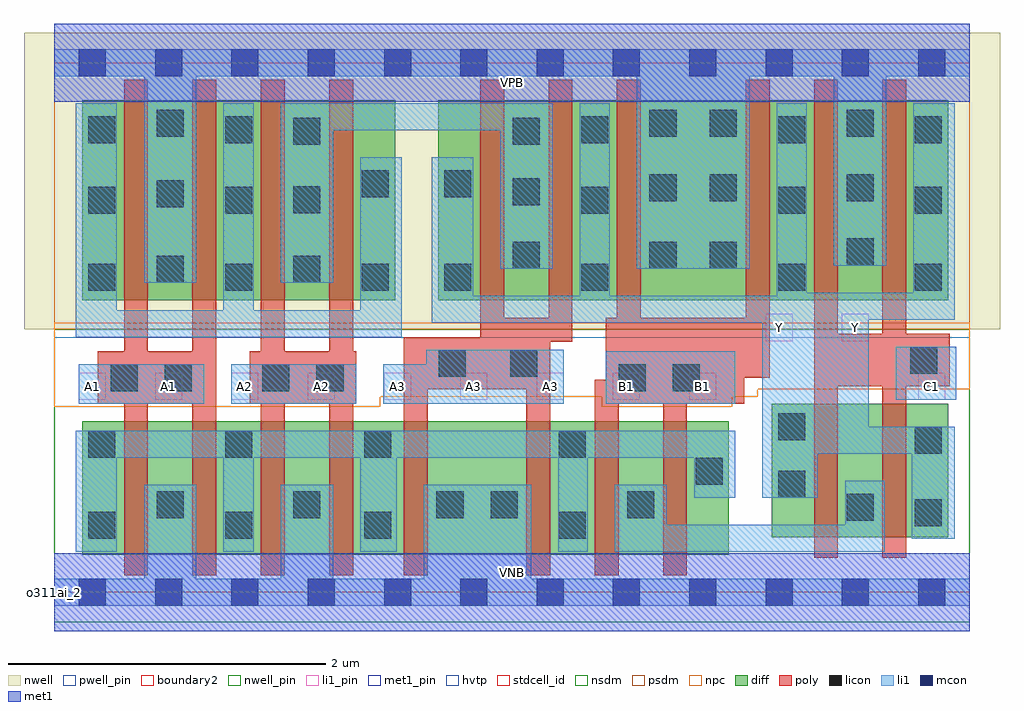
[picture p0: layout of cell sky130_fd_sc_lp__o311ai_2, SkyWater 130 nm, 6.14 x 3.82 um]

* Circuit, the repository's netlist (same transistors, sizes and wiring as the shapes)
* Copyright 2020 The SkyWater PDK Authors
*
* Licensed under the Apache License, Version 2.0 (the "License");
* you may not use this file except in compliance with the License.
* You may obtain a copy of the License at
*
*     https://www.apache.org/licenses/LICENSE-2.0
*
* Unless required by applicable law or agreed to in writing, software
* distributed under the License is distributed on an "AS IS" BASIS,
* WITHOUT WARRANTIES OR CONDITIONS OF ANY KIND, either express or implied.
* See the License for the specific language governing permissions and
* limitations under the License.
*
* SPDX-License-Identifier: Apache-2.0

.SUBCKT sky130_fd_sc_lp__o311ai_2 A1 A2 A3 B1 C1 VGND VNB VPB VPWR Y
*.PININFO A1:I A2:I A3:I B1:I C1:I VGND:I VNB:I VPB:I VPWR:I Y:O
MMPA0 VPWR A1 sndA1 VPB sky130_fd_pr__pfet_01v8_hvt m=2 w=1.26U l=0.15U mult=1
+ sa=0.265 sb=0.265 sd=0.28 area=0.063 perim=1.14
MMPA1 sndA1 A2 sndA2 VPB sky130_fd_pr__pfet_01v8_hvt m=2 w=1.26U l=0.15U mult=1
+ sa=0.265 sb=0.265 sd=0.28 area=0.063 perim=1.14
MMPA2 sndA2 A3 Y VPB sky130_fd_pr__pfet_01v8_hvt m=2 w=1.26U l=0.15U mult=1 sa=0.265
+ sb=0.265 sd=0.28 area=0.063 perim=1.14
MMPB0 VPWR B1 Y VPB sky130_fd_pr__pfet_01v8_hvt m=2 w=1.26U l=0.15U mult=1 sa=0.265
+ sb=0.265 sd=0.28 area=0.063 perim=1.14
MMPC0 VPWR C1 Y VPB sky130_fd_pr__pfet_01v8_hvt m=2 w=1.26U l=0.15U mult=1 sa=0.265
+ sb=0.265 sd=0.28 area=0.063 perim=1.14
MMNA0 pndA A1 VGND VNB sky130_fd_pr__nfet_01v8 m=2 w=0.84U l=0.15U mult=1 sa=0.265
+ sb=0.265 sd=0.28 area=0.063 perim=1.14
MMNA1 pndA A2 VGND VNB sky130_fd_pr__nfet_01v8 m=2 w=0.84U l=0.15U mult=1 sa=0.265
+ sb=0.265 sd=0.28 area=0.063 perim=1.14
MMNA2 pndA A3 VGND VNB sky130_fd_pr__nfet_01v8 m=2 w=0.84U l=0.15U mult=1 sa=0.265
+ sb=0.265 sd=0.28 area=0.063 perim=1.14
MMNB0 pndB B1 pndA VNB sky130_fd_pr__nfet_01v8 m=2 w=0.84U l=0.15U mult=1 sa=0.265
+ sb=0.265 sd=0.28 area=0.063 perim=1.14
MMNC0 Y C1 pndB VNB sky130_fd_pr__nfet_01v8 m=2 w=0.84U l=0.15U mult=1 sa=0.265
+ sb=0.265 sd=0.28 area=0.063 perim=1.14
.ENDS sky130_fd_sc_lp__o311ai_2

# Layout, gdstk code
import gdstk
lib = gdstk.Library(unit=1e-6, precision=1e-09)
def R(c, l, rs):  # rectangles x0, y0, x1, y1
    for r in rs: c.add(gdstk.rectangle(r[:2], r[2:], *l))
def A(c, l, x, y, w, h, nx, ny, dx, dy):  # array of equal rectangles
    R(c, l, [(x+i*dx, y+j*dy, x+i*dx+w, y+j*dy+h) for i in range(nx) for j in range(ny)])
def P(c, l, *ps):  # polygons
    for p in ps: c.add(gdstk.Polygon(p, *l))
nwell_pin = (64, 16)
nwell = (64, 20)
diff = (65, 20)
poly = (66, 20)
licon = (66, 44)
li1_pin = (67, 16)
li1 = (67, 20)
mcon = (67, 44)
met1_pin = (68, 16)
met1 = (68, 20)
hvtp = (78, 44)
stdcell_id = (81, 4)
nsdm = (93, 44)
psdm = (94, 20)
npc = (95, 20)
pwell_pin = (122, 16)
boundary2 = (236, 0)

sky130_fd_sc_lp__o311ai_ = lib.new_cell('sky130_fd_sc_lp__o311ai_2')
R(sky130_fd_sc_lp__o311ai_, nwell_pin, [(0,3.085,5.76,3.33)])
R(sky130_fd_sc_lp__o311ai_, nwell, [(-0.19,1.655,5.95,3.52)])
R(sky130_fd_sc_lp__o311ai_, diff, [(0.175,0.235,4.245,1.075), (4.515,0.345,5.625,1.185), (0.175,1.835,2.145,3.095), (2.415,1.835,5.625,3.095)])
P(sky130_fd_sc_lp__o311ai_, poly, [(1.02,3.225),(0.87,3.225),(0.87,1.515),(0.59,1.515),(0.59,3.225),(0.44,3.225),(0.44,1.515),(0.275,1.515),(0.275,1.185),(0.44,1.185),(0.44,0.105),(0.59,0.105),(0.59,1.185),(0.87,1.185),(0.87,0.105),(1.02,0.105)],
  [(3.26,3.225),(3.11,3.225),(3.11,1.725),(2.83,1.725),(2.83,3.225),(2.68,3.225),(2.68,1.605),(2.2,1.605),(2.2,0.105),(2.35,0.105),(2.35,1.275),(2.97,1.275),(2.97,0.105),(3.12,0.105),(3.12,1.575),(3.26,1.575)],
  [(4.5,3.225),(4.35,3.225),(4.35,1.725),(3.69,1.725),(3.69,3.225),(3.54,3.225),(3.54,1.725),(3.47,1.725),(3.47,1.335),(3.4,1.335),(3.4,0.105),(3.55,0.105),(3.55,1.185),(3.83,1.185),(3.83,0.105),(3.98,0.105),(3.98,1.185),(4.34,1.185),(4.34,1.35),(4.5,1.35)],
  [(5.635,1.625),(5.36,1.625),(5.36,3.225),(5.21,3.225),(5.21,1.625),(4.93,1.625),(4.93,3.225),(4.78,3.225),(4.78,0.215),(4.93,0.215),(4.93,1.295),(5.21,1.295),(5.21,0.215),(5.36,0.215),(5.36,1.295),(5.635,1.295)],
  [(1.9,1.515),(1.88,1.515),(1.88,3.225),(1.73,3.225),(1.73,1.515),(1.45,1.515),(1.45,3.225),(1.3,3.225),(1.3,1.515),(1.23,1.515),(1.23,1.185),(1.3,1.185),(1.3,0.105),(1.45,0.105),(1.45,1.185),(1.73,1.185),(1.73,0.105),(1.88,0.105),(1.88,1.185),(1.9,1.185)])
A(sky130_fd_sc_lp__o311ai_, licon, 0.215, 1.895, 0.17, 0.17, 3, 1, 0.86, 0)
A(sky130_fd_sc_lp__o311ai_, licon, 4.985, 2.055, 0.17, 0.17, 1, 3, 0, 0.405)
R(sky130_fd_sc_lp__o311ai_, licon, [(0.215,0.335,0.385,0.505), (1.075,0.335,1.245,0.505), (1.95,0.335,2.12,0.505), (3.175,0.335,3.345,0.505), (5.415,0.415,5.585,0.585), (4.985,0.45,5.155,0.62), (0.645,0.465,0.815,0.635), (1.505,0.465,1.675,0.635), (2.405,0.465,2.575,0.635), (2.745,0.465,2.915,0.635), (3.605,0.465,3.775,0.635), (4.555,0.595,4.725,0.765), (4.035,0.675,4.205,0.845), (0.215,0.845,0.385,1.015), (1.075,0.845,1.245,1.015), (1.95,0.845,2.12,1.015), (3.175,0.845,3.345,1.015), (5.415,0.87,5.585,1.04), (4.555,0.955,4.725,1.125), (0.355,1.265,0.525,1.435), (0.695,1.265,0.865,1.435), (1.31,1.265,1.48,1.435), (1.65,1.265,1.82,1.435), (3.55,1.265,3.72,1.435), (3.89,1.265,4.06,1.435), (2.42,1.355,2.59,1.525), (2.87,1.355,3.04,1.525), (5.385,1.375,5.555,1.545), (2.455,1.895,2.625,2.065), (3.315,1.895,3.485,2.065), (4.555,1.895,4.725,2.065), (5.415,1.895,5.585,2.065), (0.645,1.945,0.815,2.115), (1.505,1.945,1.675,2.115), (2.885,2.035,3.055,2.205), (3.745,2.035,3.915,2.205), (4.125,2.035,4.295,2.205), (0.215,2.38,0.385,2.55), (1.075,2.38,1.245,2.55), (3.315,2.38,3.485,2.55), (4.555,2.38,4.725,2.55), (5.415,2.38,5.585,2.55), (1.505,2.385,1.675,2.555), (0.645,2.42,0.815,2.59), (2.885,2.435,3.055,2.605), (3.745,2.46,3.915,2.63), (4.125,2.46,4.295,2.63), (1.935,2.485,2.105,2.655), (2.455,2.485,2.625,2.655), (1.505,2.815,1.675,2.985), (2.885,2.815,3.055,2.985), (0.215,2.825,0.385,2.995), (1.075,2.825,1.245,2.995), (3.315,2.825,3.485,2.995), (4.555,2.825,4.725,2.995), (5.415,2.825,5.585,2.995), (0.645,2.865,0.815,3.035), (3.745,2.865,3.915,3.035), (4.125,2.865,4.295,3.035)])
A(sky130_fd_sc_lp__o311ai_, li1_pin, 0.155, 1.21, 0.17, 0.17, 9, 1, 0.48, 0)
R(sky130_fd_sc_lp__o311ai_, li1_pin, [(5.435,1.21,5.605,1.38), (4.475,1.58,4.645,1.75), (4.955,1.58,5.125,1.75)])
R(sky130_fd_sc_lp__o311ai_, li1, [(0.155,1.185,0.945,1.435), (1.115,1.185,1.9,1.435), (3.47,1.185,4.285,1.515), (5.295,1.21,5.675,1.545)])
P(sky130_fd_sc_lp__o311ai_, li1, [(3.665,2.035),(3.665,3.245),(0.895,3.245),(0.895,1.945),(0.565,1.945),(0.565,3.245),(0,3.245),(0,3.415),(5.76,3.415),(5.76,3.245),(5.235,3.245),(5.235,2.055),(4.905,2.055),(4.905,3.245),(4.375,3.245),(4.375,2.035)],
  [(2.325,0.085),(2.325,0.675),(3,0.675),(3,0.085),(5.76,0.085),(5.76,-0.085),(0,-0.085),(0,0.085),(0.565,0.085),(0.565,0.675),(0.895,0.675),(0.895,0.085),(1.425,0.085),(1.425,0.675),(1.755,0.675),(1.755,0.085)],
  [(3.205,1.525),(2.34,1.525),(2.34,1.435),(2.07,1.435),(2.07,1.185),(3.205,1.185)],
  [(4.545,1.865),(4.545,3.075),(4.735,3.075),(4.735,1.885),(5.405,1.885),(5.405,3.075),(5.665,3.075),(5.665,1.715),(5.125,1.715),(5.125,1.04),(5.665,1.04),(5.665,0.335),(5.395,0.335),(5.395,0.87),(4.805,0.87),(4.805,0.595),(4.455,0.595),(4.455,1.695),(2.375,1.695),(2.375,2.735),(2.635,2.735),(2.635,1.865),(3.305,1.865),(3.305,3.075),(3.495,3.075),(3.495,1.865)],
  [(3.135,3.075),(3.135,2.035),(2.805,2.035),(2.805,2.905),(1.755,2.905),(1.755,1.945),(1.425,1.945),(1.425,3.075)],
  [(1.255,1.775),(1.925,1.775),(1.925,2.735),(2.185,2.735),(2.185,1.605),(0.135,1.605),(0.135,3.075),(0.395,3.075),(0.395,1.775),(1.065,1.775),(1.065,3.075),(1.255,3.075)],
  [(3.855,0.425),(4.975,0.425),(4.975,0.7),(5.225,0.7),(5.225,0.255),(3.525,0.255),(3.525,0.675),(3.855,0.675)],
  [(4.285,1.015),(0.135,1.015),(0.135,0.255),(0.395,0.255),(0.395,0.845),(1.065,0.845),(1.065,0.255),(1.255,0.255),(1.255,0.845),(1.925,0.845),(1.925,0.255),(2.155,0.255),(2.155,0.845),(3.17,0.845),(3.17,0.255),(3.355,0.255),(3.355,0.845),(4.025,0.845),(4.025,0.595),(4.285,0.595)])
A(sky130_fd_sc_lp__o311ai_, mcon, 0.155, -0.085, 0.17, 0.17, 12, 2, 0.48, 3.33)
R(sky130_fd_sc_lp__o311ai_, met1_pin, [(0,0,5.76,0.245), (0,3.085,5.76,3.33)])
R(sky130_fd_sc_lp__o311ai_, met1, [(0,-0.245,5.76,0.245), (0,3.085,5.76,3.575)])
R(sky130_fd_sc_lp__o311ai_, hvtp, [(0,1.6,5.76,3.33)])
R(sky130_fd_sc_lp__o311ai_, stdcell_id, [(0,0,5.76,3.33)])
R(sky130_fd_sc_lp__o311ai_, nsdm, [(0,-0.19,5.76,1.655)])
R(sky130_fd_sc_lp__o311ai_, psdm, [(0,1.655,5.76,3.52)])
P(sky130_fd_sc_lp__o311ai_, npc, [(5.76,1.695),(0,1.695),(0,1.165),(2.05,1.165),(2.05,1.23),(3.445,1.23),(3.445,1.165),(4.265,1.165),(4.265,1.23),(4.425,1.23),(4.425,1.275),(5.76,1.275)])
R(sky130_fd_sc_lp__o311ai_, pwell_pin, [(0,0,5.76,0.245)])
R(sky130_fd_sc_lp__o311ai_, boundary2, [(0,0,5.76,3.33)])
sky130_fd_sc_lp__o311ai_.add(gdstk.Label('VNB', (2.88,0.123), layer=64, texttype=59))
sky130_fd_sc_lp__o311ai_.add(gdstk.Label('VPB', (2.88,3.208), layer=64, texttype=5))
sky130_fd_sc_lp__o311ai_.add(gdstk.Label('o311ai_2', (0,0), layer=83, texttype=44))
sky130_fd_sc_lp__o311ai_.add(gdstk.Label('VPWR', (2.88,3.208), layer=68, texttype=5))
sky130_fd_sc_lp__o311ai_.add(gdstk.Label('VGND', (2.88,0.123), layer=68, texttype=5))
sky130_fd_sc_lp__o311ai_.add(gdstk.Label('A1', (0.24,1.295), layer=67, texttype=5))
sky130_fd_sc_lp__o311ai_.add(gdstk.Label('A1', (0.72,1.295), layer=67, texttype=5))
sky130_fd_sc_lp__o311ai_.add(gdstk.Label('A2', (1.68,1.295), layer=67, texttype=5))
sky130_fd_sc_lp__o311ai_.add(gdstk.Label('A3', (2.64,1.295), layer=67, texttype=5))
sky130_fd_sc_lp__o311ai_.add(gdstk.Label('A3', (3.12,1.295), layer=67, texttype=5))
sky130_fd_sc_lp__o311ai_.add(gdstk.Label('B1', (3.6,1.295), layer=67, texttype=5))
sky130_fd_sc_lp__o311ai_.add(gdstk.Label('Y', (4.56,1.665), layer=67, texttype=5))
sky130_fd_sc_lp__o311ai_.add(gdstk.Label('Y', (5.04,1.665), layer=67, texttype=5))
sky130_fd_sc_lp__o311ai_.add(gdstk.Label('B1', (4.08,1.295), layer=67, texttype=5))
sky130_fd_sc_lp__o311ai_.add(gdstk.Label('C1', (5.52,1.295), layer=67, texttype=5))
sky130_fd_sc_lp__o311ai_.add(gdstk.Label('A3', (2.16,1.295), layer=67, texttype=5))
sky130_fd_sc_lp__o311ai_.add(gdstk.Label('A2', (1.2,1.295), layer=67, texttype=5))

lib.write_gds('sky130_fd_sc_lp__o311ai_2.gds')
